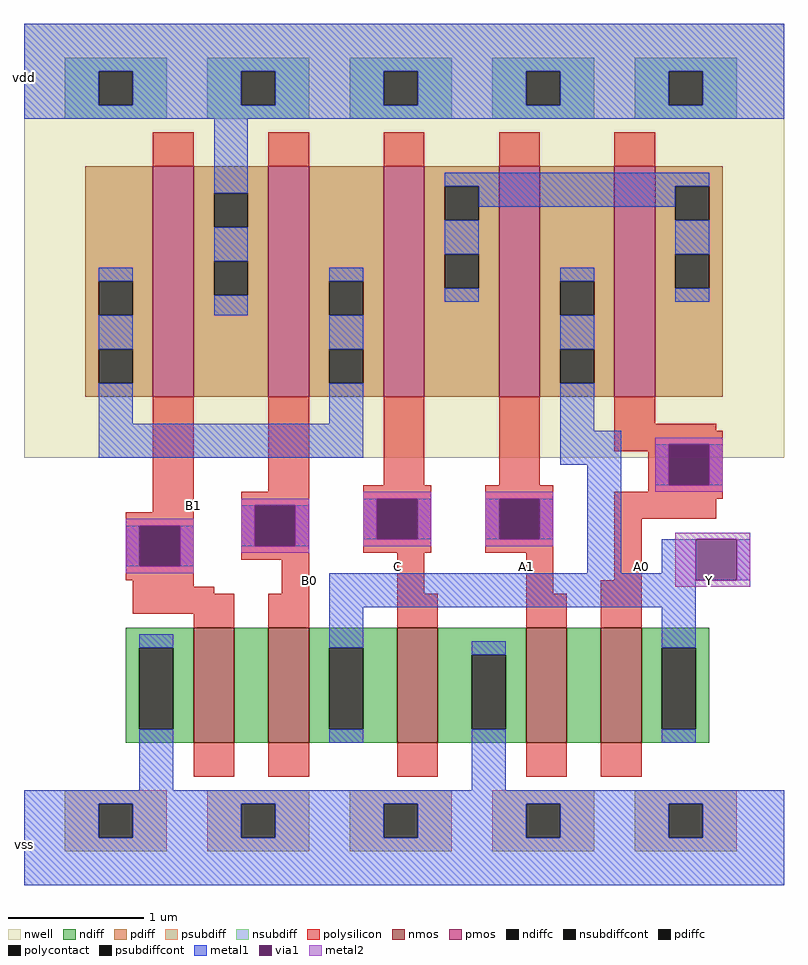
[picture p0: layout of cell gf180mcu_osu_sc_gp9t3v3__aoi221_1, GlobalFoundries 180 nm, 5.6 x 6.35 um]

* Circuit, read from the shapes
.subckt gf180mcu_osu_sc_gp9t3v3__aoi221_1 A0 A1 B0 B1 C Y vdd vss
XM1 n1 B1 vss vss nfet_03v3 w=0.85u l=0.3u
XM2 Y B0 n1 vss nfet_03v3 w=0.85u l=0.3u
XM3 vss C Y vss nfet_03v3 w=0.85u l=0.3u
XM4 n2 A1 vss vss nfet_03v3 w=0.85u l=0.3u
XM5 Y A0 n2 vss nfet_03v3 w=0.85u l=0.3u
XM6 vdd B1 n3 vdd pfet_03v3 w=1.7u l=0.3u
XM7 n3 B0 vdd vdd pfet_03v3 w=1.7u l=0.3u
XM8 n4 C n3 vdd pfet_03v3 w=1.7u l=0.3u
XM9 Y A1 n4 vdd pfet_03v3 w=1.7u l=0.3u
XM10 n4 A0 Y vdd pfet_03v3 w=1.7u l=0.3u
.ends

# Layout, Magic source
magic
tech gf180mcuD
<< nwell >>
rect -6 58 106 122
<< nmos >>
rect 19 16 25 33
rect 30 16 36 33
rect 49 16 55 33
rect 68 16 74 33
rect 79 16 85 33
<< pmos >>
rect 13 67 19 101
rect 30 67 36 101
rect 47 67 53 101
rect 64 67 70 101
rect 81 67 87 101
<< ndiff >>
rect 9 30 19 33
rect 9 18 11 30
rect 16 18 19 30
rect 9 16 19 18
rect 25 16 30 33
rect 36 30 49 33
rect 36 18 39 30
rect 44 18 49 30
rect 36 16 49 18
rect 55 29 68 33
rect 55 18 60 29
rect 65 18 68 29
rect 55 16 68 18
rect 74 16 79 33
rect 85 30 95 33
rect 85 18 88 30
rect 93 18 95 30
rect 85 16 95 18
<< pdiff >>
rect 3 84 13 101
rect 3 79 5 84
rect 10 79 13 84
rect 3 74 13 79
rect 3 69 5 74
rect 10 69 13 74
rect 3 67 13 69
rect 19 97 30 101
rect 19 92 22 97
rect 27 92 30 97
rect 19 87 30 92
rect 19 82 22 87
rect 27 82 30 87
rect 19 67 30 82
rect 36 84 47 101
rect 36 79 39 84
rect 44 79 47 84
rect 36 74 47 79
rect 36 69 39 74
rect 44 69 47 74
rect 36 67 47 69
rect 53 98 64 101
rect 53 93 56 98
rect 61 93 64 98
rect 53 88 64 93
rect 53 83 56 88
rect 61 83 64 88
rect 53 67 64 83
rect 70 84 81 101
rect 70 79 73 84
rect 78 79 81 84
rect 70 74 81 79
rect 70 69 73 74
rect 78 69 81 74
rect 70 67 81 69
rect 87 98 97 101
rect 87 93 90 98
rect 95 93 97 98
rect 87 88 97 93
rect 87 83 90 88
rect 95 83 97 88
rect 87 67 97 83
<< ndiffc >>
rect 11 18 16 30
rect 39 18 44 30
rect 60 18 65 29
rect 88 18 93 30
<< pdiffc >>
rect 5 79 10 84
rect 5 69 10 74
rect 22 92 27 97
rect 22 82 27 87
rect 39 79 44 84
rect 39 69 44 74
rect 56 93 61 98
rect 56 83 61 88
rect 73 79 78 84
rect 73 69 78 74
rect 90 93 95 98
rect 90 83 95 88
<< psubdiff >>
rect 0 7 15 9
rect 0 2 5 7
rect 10 2 15 7
rect 0 0 15 2
rect 21 7 36 9
rect 21 2 26 7
rect 31 2 36 7
rect 21 0 36 2
rect 42 7 57 9
rect 42 2 47 7
rect 52 2 57 7
rect 42 0 57 2
rect 63 7 78 9
rect 63 2 68 7
rect 73 2 78 7
rect 63 0 78 2
rect 84 7 99 9
rect 84 2 89 7
rect 94 2 99 7
rect 84 0 99 2
<< nsubdiff >>
rect 0 115 15 117
rect 0 110 5 115
rect 10 110 15 115
rect 0 108 15 110
rect 21 115 36 117
rect 21 110 26 115
rect 31 110 36 115
rect 21 108 36 110
rect 42 115 57 117
rect 42 110 47 115
rect 52 110 57 115
rect 42 108 57 110
rect 63 115 78 117
rect 63 110 68 115
rect 73 110 78 115
rect 63 108 78 110
rect 84 115 99 117
rect 84 110 89 115
rect 94 110 99 115
rect 84 108 99 110
<< psubdiffcont >>
rect 5 2 10 7
rect 26 2 31 7
rect 47 2 52 7
rect 68 2 73 7
rect 89 2 94 7
<< nsubdiffcont >>
rect 5 110 10 115
rect 26 110 31 115
rect 47 110 52 115
rect 68 110 73 115
rect 89 110 94 115
<< polysilicon >>
rect 13 101 19 106
rect 30 101 36 106
rect 47 101 53 106
rect 64 101 70 106
rect 81 101 87 106
rect 13 50 19 67
rect 30 53 36 67
rect 47 54 53 67
rect 64 54 70 67
rect 81 63 87 67
rect 81 62 96 63
rect 81 60 97 62
rect 81 59 89 60
rect 86 54 89 59
rect 95 54 97 60
rect 9 48 19 50
rect 9 42 11 48
rect 17 42 19 48
rect 26 51 36 53
rect 26 45 28 51
rect 34 45 36 51
rect 26 43 36 45
rect 44 52 54 54
rect 44 46 46 52
rect 52 46 54 52
rect 44 44 54 46
rect 62 52 72 54
rect 86 53 97 54
rect 62 46 64 52
rect 70 46 72 52
rect 62 44 72 46
rect 9 40 19 42
rect 10 39 19 40
rect 10 38 22 39
rect 32 38 36 43
rect 10 35 25 38
rect 19 33 25 35
rect 30 33 36 38
rect 49 38 53 44
rect 68 38 72 44
rect 81 52 97 53
rect 81 49 96 52
rect 81 40 85 49
rect 49 33 55 38
rect 68 33 74 38
rect 79 33 85 40
rect 19 11 25 16
rect 30 11 36 16
rect 49 11 55 16
rect 68 11 74 16
rect 79 11 85 16
<< polycontact >>
rect 89 54 95 60
rect 11 42 17 48
rect 28 45 34 51
rect 46 46 52 52
rect 64 46 70 52
<< metal1 >>
rect -6 115 106 122
rect -6 110 5 115
rect 10 110 26 115
rect 31 110 47 115
rect 52 110 68 115
rect 73 110 89 115
rect 94 110 106 115
rect -6 108 106 110
rect 22 97 27 108
rect 22 87 27 92
rect 5 84 10 86
rect 56 98 95 100
rect 61 95 90 98
rect 56 88 61 93
rect 22 79 27 82
rect 39 84 44 86
rect 90 88 95 93
rect 56 81 61 83
rect 73 84 78 86
rect 5 74 10 79
rect 5 63 10 69
rect 39 74 44 79
rect 39 63 44 69
rect 5 58 44 63
rect 90 81 95 83
rect 73 74 78 79
rect 73 62 78 69
rect 73 57 82 62
rect 9 42 11 48
rect 17 42 19 48
rect 26 45 28 51
rect 34 45 36 51
rect 44 46 46 52
rect 52 46 54 52
rect 62 46 64 52
rect 70 46 72 52
rect 77 41 82 57
rect 87 54 89 60
rect 95 54 97 60
rect 88 41 93 46
rect 39 36 93 41
rect 99 40 101 46
rect 11 30 16 32
rect 11 9 16 18
rect 39 30 44 36
rect 39 16 44 18
rect 60 29 65 31
rect 60 9 65 18
rect 88 30 93 36
rect 88 16 93 18
rect -6 7 106 9
rect -6 2 5 7
rect 10 2 26 7
rect 31 2 47 7
rect 52 2 68 7
rect 73 2 89 7
rect 94 2 106 7
rect -6 -5 106 2
<< via1 >>
rect 11 42 17 48
rect 28 45 34 51
rect 46 46 52 52
rect 64 46 70 52
rect 89 54 95 60
rect 93 40 99 46
<< metal2 >>
rect 87 60 97 61
rect 87 54 89 60
rect 95 54 97 60
rect 87 53 97 54
rect 44 52 54 53
rect 26 51 36 52
rect 9 48 19 49
rect 9 42 11 48
rect 17 42 19 48
rect 26 45 28 51
rect 34 45 36 51
rect 44 46 46 52
rect 52 46 54 52
rect 44 45 54 46
rect 62 52 72 53
rect 62 46 64 52
rect 70 46 72 52
rect 62 45 72 46
rect 90 46 101 47
rect 26 44 36 45
rect 9 41 19 42
rect 90 40 93 46
rect 99 40 101 46
rect 90 39 101 40
<< labels >>
rlabel metal1 -6 114 -6 114 3 vdd
port 7 e power bidirectional abutment
rlabel metal1 -6 1 -6 1 3 vss
port 8 e ground bidirectional abutment
rlabel polysilicon 36 40 36 40 1 B0
port 3 n signal input
rlabel polysilicon 68 42 68 42 1 A1
port 2 n signal input
rlabel polysilicon 49 42 49 42 1 C
port 5 n signal input
rlabel polysilicon 85 42 85 42 1 A0
port 1 n signal input
rlabel via1 95 40 95 40 1 Y
port 6 n signal output
rlabel polysilicon 19 51 19 51 1 B1
port 4 n signal input
<< end >>
